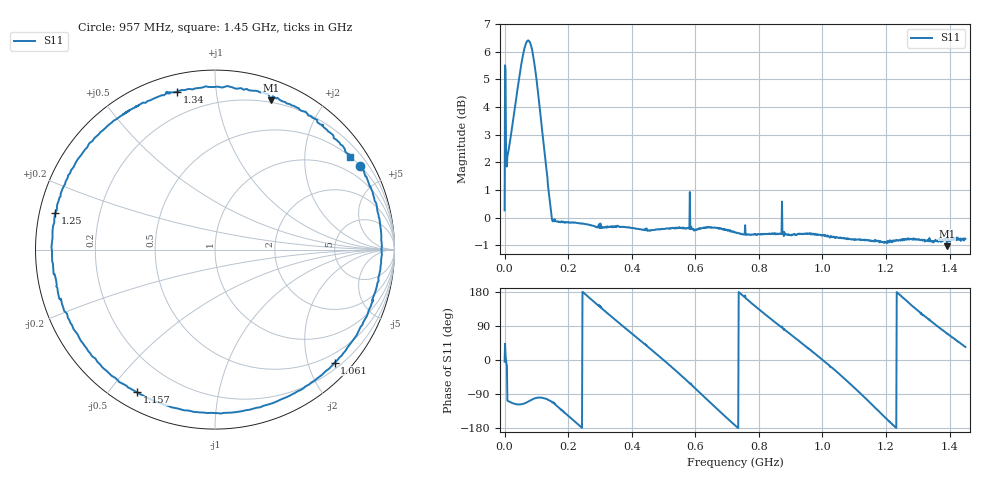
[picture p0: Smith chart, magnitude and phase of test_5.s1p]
! Created with skrf 1.11.0 (http://scikit-rf.org).
# Hz S RI R 50.0
!freq ReS11 ImS11
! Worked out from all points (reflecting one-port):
!   1001 points, 50 kHz to 1.45 GHz, reference 50 ohm
!   lowest |S11| = -1.0 dB at 1.392 GHz (marker M1), VSWR 16.77, Z = 9.12 + j71.3 ohm
!   phase of S11 starts at -4 deg and turns -1041 deg over the sweep
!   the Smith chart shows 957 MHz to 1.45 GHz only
!   S11 on the Smith chart (normalised r, x): 957 MHz: 0.50, +3.68; 1.061 GHz: 0.31, -2.48; 1.157 GHz: 0.07, -0.59; 1.25 GHz: 0.05, +0.11; 1.34 GHz: 0.08, +0.78; 1.45 GHz: 0.49, +3.15
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50000  1.027 -0.0762
1.599945e7  -0.4774 -1.275
5.079825e7  -0.8472 -1.662
7.54474e7  -0.6875 -1.974
1.17496e8  -0.2417 -1.427
1.812938e8  -0.6745 -0.7126
2.639409e8  -0.9425 0.2312
3.625375e8  -0.1026 0.9569
4.118358e8  0.4507 0.8428
4.65484e8  0.8637 0.3944
5.437812e8  0.8118 -0.5058
5.872798e8  0.4357 -0.8578
6.307782e8  -0.1567 -0.9442
6.815265e8  -0.7228 -0.6248
7.25025e8  -0.9314 -0.1289
8.221716e8  -0.45 0.8188
9.062688e8  0.4164 0.8335
9.57017e8  0.8101 0.4663
1.009215e9  0.9224 -0.0911
1.061413e9  0.6669 -0.6291
1.087512e9  0.4185 -0.8127
1.15711e9  -0.4347 -0.7955
1.206408e9  -0.8456 -0.3229
1.249907e9  -0.8903 0.2049
1.268756e9  -0.8186 0.413
1.339804e9  -0.2129 0.8797
1.392002e9  0.3111 0.8311
1.45e9  0.754 0.5184
